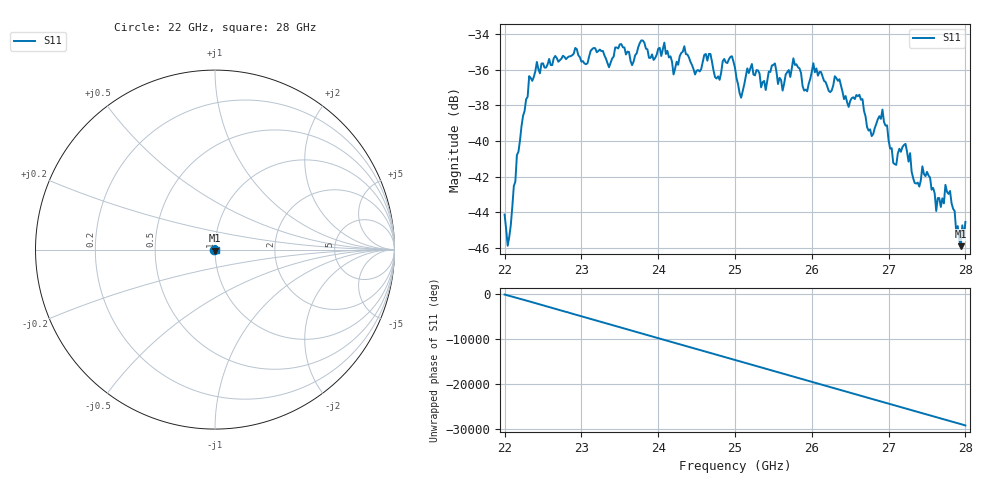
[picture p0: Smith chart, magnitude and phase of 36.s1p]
#  HZ  S  RI  R  50.00
! Rohde & Schwarz ZVA40 4Ports - Version 3.90 - 1145.1110k42 SN: 100403
! Date: 2023-10-04 10:36:58
! Measurement: S12
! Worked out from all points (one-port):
!   301 points, 22 GHz to 28 GHz, reference 50 ohm
!   lowest |S11| = -45.9 dB at 27.94 GHz (marker M1), VSWR 1.01, Z = 50 - j0.507 ohm
!   |S11| at or under -10 dB: start of sweep to end of sweep
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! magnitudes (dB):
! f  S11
! 22 GHz  -44.1
! 22.04 GHz  -45.9
! 22.32 GHz  -36.4
! 22.76 GHz  -35.2
! 23.36 GHz  -35.9
! 23.5 GHz  -34.6
! 24.26 GHz  -35.7
! 25 GHz  -35.9
! 25.08 GHz  -37.6
! 25.22 GHz  -35.7
! 25.4 GHz  -37.1
! 25.52 GHz  -35.7
! 25.62 GHz  -37.2
! 25.76 GHz  -35.4
! 25.9 GHz  -37.2
! 26.02 GHz  -35.6
! 26.5 GHz  -37.8
! 26.66 GHz  -37.7
! 26.78 GHz  -39.7
! 26.92 GHz  -38.2
! 27.06 GHz  -41.2
! 27.26 GHz  -41.2
! 27.4 GHz  -42.5
! 27.5 GHz  -41.7
! 27.62 GHz  -43.9
! 27.8 GHz  -42.8
! 27.94 GHz  -45.9
! 28 GHz  -44.5
